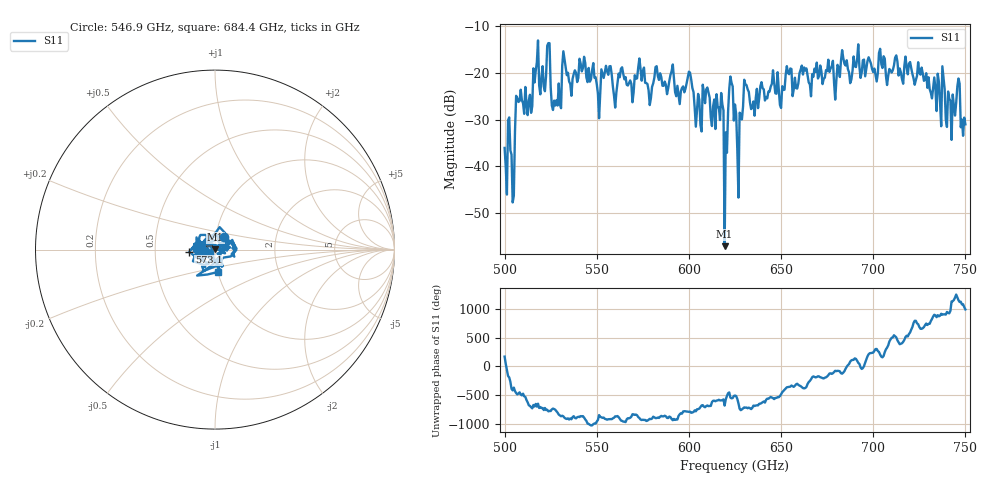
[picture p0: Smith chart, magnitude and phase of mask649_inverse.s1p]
!Created with skrf (http://scikit-rf.org).
# GHz S MA R 50.0
!freq magS11 angS11
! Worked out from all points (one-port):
!   401 points, 500 GHz to 750 GHz, reference 50 ohm
!   lowest |S11| = -57.2 dB at 619.4 GHz (marker M1), VSWR 1.00, Z = 50.1 + j0.0905 ohm
!   |S11| at or under -10 dB: start of sweep to end of sweep
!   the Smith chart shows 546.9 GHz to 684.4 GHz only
!   S11 on the Smith chart (normalised r, x): 546.9 GHz: 1.09, +0.16; 573.1 GHz: 0.75, -0.02; 684.4 GHz: 1.01, -0.25
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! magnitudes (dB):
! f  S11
! 500 GHz  -36.1
! 504.4 GHz  -47.8
! 507.5 GHz  -26.2
! 513.8 GHz  -24.7
! 516.9 GHz  -19.6
! 520.6 GHz  -18.5
! 523.8 GHz  -13.6
! 526.9 GHz  -25.9
! 531.2 GHz  -18.5
! 546.9 GHz  -21.4
! 562.5 GHz  -20.9
! 573.1 GHz  -16.9
! 593.8 GHz  -22.8
! 617.5 GHz  -24.3
! 619.4 GHz  -57.2
! 620.6 GHz  -37.1
! 622.5 GHz  -20.8
! 625 GHz  -26.8
! 627.5 GHz  -28.5
! 631.2 GHz  -22.6
! 634.4 GHz  -27.4
! 656.2 GHz  -25.0
! 684.4 GHz  -18.0
! 687.5 GHz  -22.2
! 718.8 GHz  -20.3
! 741.2 GHz  -25.6
! 745.6 GHz  -22.9
! 750 GHz  -31.0
